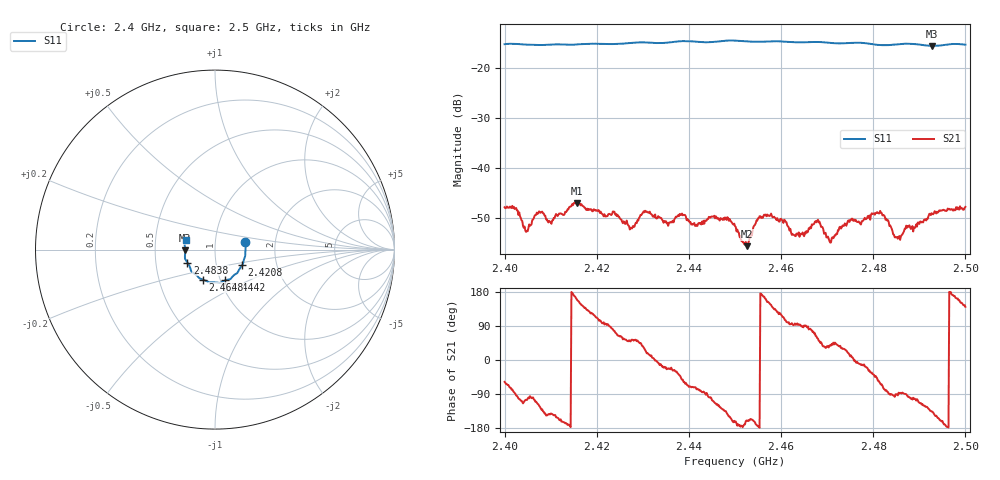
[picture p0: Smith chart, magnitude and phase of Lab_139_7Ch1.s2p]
# Hz S RI R 50
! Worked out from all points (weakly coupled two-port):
!   601 points, 2.4 GHz to 2.5 GHz, reference 50 ohm
!   highest |S21| = -47.01 dB at 2.4157 GHz (marker M1); lowest = -55.7 dB at 2.4527 GHz (marker M2)
!   lowest |S11| = -15.6 dB at 2.4928 GHz (marker M3), VSWR 1.40, Z = 35.8 - j0.343 ohm
!   |S11| at or under -10 dB: start of sweep to end of sweep
!   S12 and S22 are empty: the file has one direction only
!   S11 on the Smith chart (normalised r, x): 2.4 GHz: 1.40, +0.12; 2.4208 GHz: 1.33, -0.24; 2.4442 GHz: 1.05, -0.37; 2.4648 GHz: 0.83, -0.29; 2.4838 GHz: 0.73, -0.11; 2.5 GHz: 0.72, +0.08
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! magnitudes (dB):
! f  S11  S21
! 2.4 GHz  -15.3  -47.9
! 2.4047 GHz  -15.3  -52.8
! 2.4072 GHz  -15.4  -49.2
! 2.4157 GHz  -15.3  -47.0
! 2.4167 GHz  -15.2  -47.3
! 2.4208 GHz  -15.2  -48.7
! 2.4277 GHz  -15.0  -52.1
! 2.4303 GHz  -14.9  -48.9
! 2.4333 GHz  -15.0  -49.7
! 2.4442 GHz  -14.9  -50.2
! 2.45 GHz  -14.5  -51.6
! 2.4527 GHz  -14.7  -55.7
! 2.4567 GHz  -14.7  -49.3
! 2.4648 GHz  -14.9  -53.4
! 2.4667 GHz  -14.8  -51.3
! 2.4708 GHz  -15.0  -54.9
! 2.475 GHz  -15.0  -50.4
! 2.4833 GHz  -15.4  -50.7
! 2.4838 GHz  -15.4  -51.8
! 2.4855 GHz  -15.2  -53.8
! 2.4928 GHz  -15.6  -49.2
! 2.5 GHz  -15.4  -47.8
